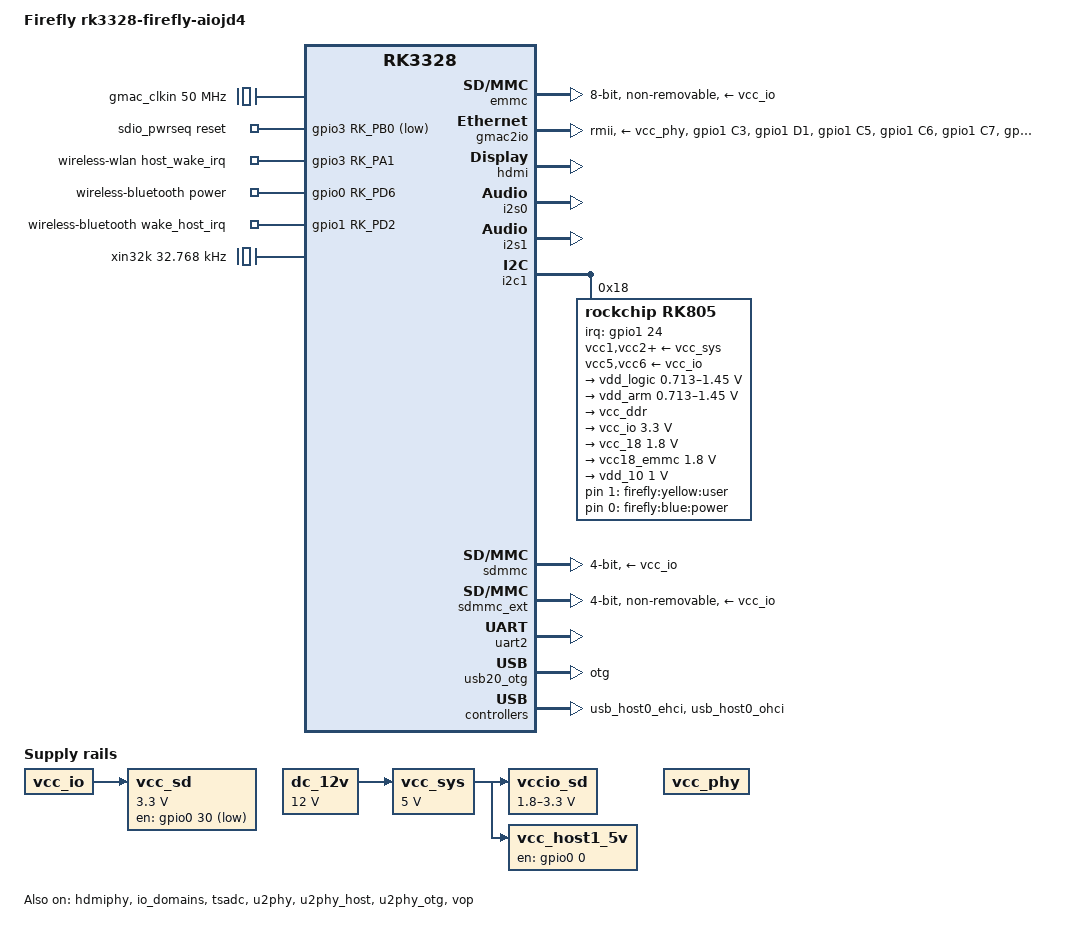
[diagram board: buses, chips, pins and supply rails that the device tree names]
// SPDX-License-Identifier: (GPL-2.0+ OR MIT)
// RK3328 AIO-JD4 (mb-jd4 backplane) — ported from BSP 4.4 to BSP 5.10
// Base: rk3328-roc-cc.dts (BSP 5.10)
// Custom: RMII ethernet, SDIO WiFi (rtl8723ds), BT, fiq-debugger, codec

/dts-v1/;
#include "rk3328.dtsi"

/ {
	model = "Firefly rk3328-firefly-aiojd4";
	compatible = "rockchip,rk3328-firefly-aiojd4", "rockchip,rk3328";

	chosen {
		stdout-path = "serial2:1500000n8";
		bootargs = "earlyprintk=uart8250-32bit,0xff130000 swiotlb=1 kpti=0 console=ttyS2,1500000n8 ro root=PARTLABEL=rootfs rootfstype=ext4 rootwait overlayroot=device:dev=PARTLABEL=userdata,fstype=ext4,mkfs=1 systemd.gpt_auto=0 cgroup_enable=memory swapaccount=1";
	};

	fiq-debugger {
		compatible = "rockchip,fiq-debugger";
		rockchip,serial-id = <2>;
		rockchip,signal-irq = <159>;
		rockchip,wake-irq = <0>;
		rockchip,irq-mode-enable = <0>;
		rockchip,baudrate = <1500000>;
		interrupts = <GIC_SPI 127 IRQ_TYPE_LEVEL_LOW>;
		status = "disabled";
	};

	gmac_clkin: external-gmac-clock {
		compatible = "fixed-clock";
		clock-frequency = <50000000>;
		clock-output-names = "gmac_clkin";
		#clock-cells = <0>;
	};

	sdio_pwrseq: sdio-pwrseq {
		compatible = "mmc-pwrseq-simple";
		pinctrl-names = "default";
		pinctrl-0 = <&wifi_enable_h>;
		reset-gpios = <&gpio3 RK_PB0 GPIO_ACTIVE_LOW>;
	};

	wireless-wlan {
		compatible = "wlan-platdata";
		rockchip,grf = <&grf>;
		clocks = <&rk805 1>;
		clock-names = "ext_clock";
		wifi_chip_type = "rtl8723ds";
		sdio_vref = <1800>;
		WIFI,host_wake_irq = <&gpio3 RK_PA1 GPIO_ACTIVE_HIGH>;
		status = "okay";
	};

	wireless-bluetooth {
		compatible = "bluetooth-platdata";
		clocks = <&cru SCLK_RTC32K>;
		clock-names = "ext_clock";
		BT,power_gpio = <&gpio0 RK_PD6 GPIO_ACTIVE_HIGH>;
		BT,wake_host_irq = <&gpio1 RK_PD2 GPIO_ACTIVE_HIGH>;
		status = "okay";
	};

	dc_12v: dc-12v {
		compatible = "regulator-fixed";
		regulator-name = "dc_12v";
		regulator-always-on;
		regulator-boot-on;
		regulator-min-microvolt = <12000000>;
		regulator-max-microvolt = <12000000>;
	};

	vcc_sd: sdmmc-regulator {
		compatible = "regulator-fixed";
		gpio = <&gpio0 30 GPIO_ACTIVE_LOW>;
		pinctrl-names = "default";
		pinctrl-0 = <&sdmmc0m1_pin>;
		regulator-boot-on;
		regulator-name = "vcc_sd";
		regulator-min-microvolt = <3300000>;
		regulator-max-microvolt = <3300000>;
		vin-supply = <&vcc_io>;
	};

	vccio_sd: sdmmcio-regulator {
		compatible = "regulator-gpio";
		gpios = <&gpio0 27 GPIO_ACTIVE_HIGH>;
		states = <1800000 0x1>,
			 <3300000 0x0>;
		pinctrl-names = "default";
		pinctrl-0 = <&sd_pwr_1800_sel>;
		regulator-name = "vccio_sd";
		regulator-type = "voltage";
		regulator-min-microvolt = <1800000>;
		regulator-max-microvolt = <3300000>;
		regulator-always-on;
		vin-supply = <&vcc_sys>;
	};

	vcc_host1_5v: vcc_otg_5v: vcc-host1-5v-regulator {
		compatible = "regulator-fixed";
		enable-active-high;
		gpio = <&gpio0 0 GPIO_ACTIVE_HIGH>;
		pinctrl-names = "default";
		pinctrl-0 = <&usb_host_drv>;
		regulator-name = "vcc_host1_5v";
		regulator-always-on;
		vin-supply = <&vcc_sys>;
	};

	vcc_sys: vcc-sys {
		compatible = "regulator-fixed";
		regulator-name = "vcc_sys";
		regulator-always-on;
		regulator-boot-on;
		regulator-min-microvolt = <5000000>;
		regulator-max-microvolt = <5000000>;
		vin-supply = <&dc_12v>;
	};

	vcc_phy: vcc-phy-regulator {
		compatible = "regulator-fixed";
		regulator-name = "vcc_phy";
		regulator-always-on;
		regulator-boot-on;
	};

	leds {
		compatible = "gpio-leds";

		power_led: led-0 {
			label = "firefly:yellow:user";
			linux,default-trigger = "ir-power-click";
			gpios = <&rk805 1 GPIO_ACTIVE_HIGH>;
			default-state = "on";
		};

		user_led: led-1 {
			label = "firefly:blue:power";
			linux,default-trigger = "ir-user-click";
			gpios = <&rk805 0 GPIO_ACTIVE_HIGH>;
			default-state = "on";
		};
	};

	sound {
		compatible = "simple-audio-card";
		simple-audio-card,format = "i2s";
		simple-audio-card,mclk-fs = <256>;
		simple-audio-card,name = "rockchip,rk3328";
		simple-audio-card,cpu {
			sound-dai = <&i2s1>;
		};
		simple-audio-card,codec {
			sound-dai = <&codec>;
		};
	};

	hdmi-sound {
		compatible = "simple-audio-card";
		simple-audio-card,format = "i2s";
		simple-audio-card,mclk-fs = <128>;
		simple-audio-card,name = "rockchip,hdmi";
		simple-audio-card,cpu {
			sound-dai = <&i2s0>;
		};
		simple-audio-card,codec {
			sound-dai = <&hdmi>;
		};
	};

	xin32k: xin32k {
		compatible = "fixed-clock";
		clock-frequency = <32768>;
		clock-output-names = "xin32k";
		#clock-cells = <0>;
	};
};

&cpu0 {
	cpu-supply = <&vdd_arm>;
};

&cpu1 {
	cpu-supply = <&vdd_arm>;
};

&cpu2 {
	cpu-supply = <&vdd_arm>;
};

&cpu3 {
	cpu-supply = <&vdd_arm>;
};

&emmc {
	bus-width = <8>;
	cap-mmc-highspeed;
	max-frequency = <150000000>;
	mmc-ddr-1_8v;
	mmc-hs200-1_8v;
	non-removable;
	pinctrl-names = "default";
	pinctrl-0 = <&emmc_clk &emmc_cmd &emmc_bus8>;
	vmmc-supply = <&vcc_io>;
	vqmmc-supply = <&vcc18_emmc>;
	status = "okay";
};

&gmac2io {
	phy-supply = <&vcc_phy>;
	phy-mode = "rmii";
	clock_in_out = "output";
	assigned-clocks = <&cru SCLK_MAC2IO_REFOUT>;
	assigned-clock-parents = <&gmac_clkin>;
	pinctrl-names = "default";
	pinctrl-0 = <&rmiim1_pins &gmac_reset>;
	snps,reset-gpio = <&gpio1 RK_PC2 GPIO_ACTIVE_LOW>;
	snps,reset-active-low;
	snps,force_thresh_dma_mode;
	snps,reset-delays-us = <0 10000 50000>;
	status = "okay";
};

&hdmi {
	#sound-dai-cells = <0>;
	ddc-i2c-scl-high-time-ns = <9625>;
	ddc-i2c-scl-low-time-ns = <10000>;
	status = "okay";
};

&hdmiphy {
	status = "okay";
};

&i2s0 {
	#sound-dai-cells = <0>;
	rockchip,bclk-fs = <128>;
	status = "okay";
};

&i2s1 {
	#sound-dai-cells = <0>;
	status = "okay";
};

&i2c1 {
	status = "okay";

	rk805: pmic@18 {
		compatible = "rockchip,rk805";
		reg = <0x18>;
		interrupt-parent = <&gpio1>;
		interrupts = <24 IRQ_TYPE_LEVEL_LOW>;
		#clock-cells = <1>;
		clock-output-names = "xin32k", "rk805-clkout2";
		gpio-controller;
		#gpio-cells = <2>;
		pinctrl-names = "default";
		pinctrl-0 = <&pmic_int_l>;
		rockchip,system-power-controller;
		wakeup-source;

		vcc1-supply = <&vcc_sys>;
		vcc2-supply = <&vcc_sys>;
		vcc3-supply = <&vcc_sys>;
		vcc4-supply = <&vcc_sys>;
		vcc5-supply = <&vcc_io>;
		vcc6-supply = <&vcc_io>;

		regulators {
			vdd_logic: DCDC_REG1 {
				regulator-name = "vdd_logic";
				regulator-min-microvolt = <712500>;
				regulator-max-microvolt = <1450000>;
				regulator-always-on;
				regulator-boot-on;
				regulator-state-mem {
					regulator-on-in-suspend;
					regulator-suspend-microvolt = <1000000>;
				};
			};

			vdd_arm: DCDC_REG2 {
				regulator-name = "vdd_arm";
				regulator-min-microvolt = <712500>;
				regulator-max-microvolt = <1450000>;
				regulator-always-on;
				regulator-boot-on;
				regulator-state-mem {
					regulator-on-in-suspend;
					regulator-suspend-microvolt = <950000>;
				};
			};

			vcc_ddr: DCDC_REG3 {
				regulator-name = "vcc_ddr";
				regulator-always-on;
				regulator-boot-on;
				regulator-state-mem {
					regulator-on-in-suspend;
				};
			};

			vcc_io: DCDC_REG4 {
				regulator-name = "vcc_io";
				regulator-min-microvolt = <3300000>;
				regulator-max-microvolt = <3300000>;
				regulator-always-on;
				regulator-boot-on;
				regulator-state-mem {
					regulator-on-in-suspend;
					regulator-suspend-microvolt = <3300000>;
				};
			};

			vcc_18: LDO_REG1 {
				regulator-name = "vcc_18";
				regulator-min-microvolt = <1800000>;
				regulator-max-microvolt = <1800000>;
				regulator-always-on;
				regulator-boot-on;
				regulator-state-mem {
					regulator-on-in-suspend;
					regulator-suspend-microvolt = <1800000>;
				};
			};

			vcc18_emmc: LDO_REG2 {
				regulator-name = "vcc18_emmc";
				regulator-min-microvolt = <1800000>;
				regulator-max-microvolt = <1800000>;
				regulator-always-on;
				regulator-boot-on;
				regulator-state-mem {
					regulator-on-in-suspend;
					regulator-suspend-microvolt = <1800000>;
				};
			};

			vdd_10: LDO_REG3 {
				regulator-name = "vdd_10";
				regulator-min-microvolt = <1000000>;
				regulator-max-microvolt = <1000000>;
				regulator-always-on;
				regulator-boot-on;
				regulator-state-mem {
					regulator-on-in-suspend;
					regulator-suspend-microvolt = <1000000>;
				};
			};
		};
	};
};

&io_domains {
	status = "okay";

	vccio1-supply = <&vcc_io>;
	vccio2-supply = <&vcc18_emmc>;
	vccio3-supply = <&vccio_sd>;
	vccio4-supply = <&vcc_18>;
	vccio5-supply = <&vcc_io>;
	vccio6-supply = <&vcc_io>;
	pmuio-supply = <&vcc_io>;
};

&pinctrl {
	pmic {
		pmic_int_l: pmic-int-l {
			rockchip,pins = <1 RK_PD0 RK_FUNC_GPIO &pcfg_pull_up>;
		};
	};

	usb {
		usb_host_drv: usb-host-drv {
			rockchip,pins = <0 0 RK_FUNC_GPIO &pcfg_pull_none>;
		};
	};

	sdio-pwrseq {
		wifi_enable_h: wifi-enable-h {
			rockchip,pins = <3 RK_PB0 RK_FUNC_GPIO &pcfg_pull_none>;
		};
	};

	gmac2phy {
		gmac_reset: gmac-reset {
			rockchip,pins = <1 18 RK_FUNC_GPIO &pcfg_pull_none>;
		};
	};

	gmac-1 {
		rmiim1_pins: rmiim1-pins {
			rockchip,pins =
				/* mac_mdio */
				<1 RK_PC3 2 &pcfg_pull_none_2ma>,
				/* mac_txen */
				<1 RK_PD1 2 &pcfg_pull_none_12ma>,
				/* mac_clk */
				<1 RK_PC5 2 &pcfg_pull_none_2ma>,
				/* mac_rxdv */
				<1 RK_PC6 2 &pcfg_pull_none_2ma>,
				/* mac_mdc */
				<1 RK_PC7 2 &pcfg_pull_none_2ma>,
				/* mac_rxd1 */
				<1 RK_PB2 2 &pcfg_pull_none_2ma>,
				/* mac_rxd0 */
				<1 RK_PB3 2 &pcfg_pull_none_2ma>,
				/* mac_txd1 */
				<1 RK_PB0 2 &pcfg_pull_none_12ma>,
				/* mac_txd0 */
				<1 RK_PB1 2 &pcfg_pull_none_12ma>;
		};
	};

	vccio-sd {
		sd_pwr_1800_sel: sd-pwr-1800-sel {
			rockchip,pins = <0 RK_PD3 RK_FUNC_GPIO &pcfg_pull_none>;
		};
	};
};

&sdmmc {
	bus-width = <4>;
	cap-mmc-highspeed;
	cap-sd-highspeed;
	disable-wp;
	max-frequency = <150000000>;
	pinctrl-names = "default";
	pinctrl-0 = <&sdmmc0_clk &sdmmc0_cmd &sdmmc0_dectn &sdmmc0_bus4>;
	sd-uhs-sdr12;
	sd-uhs-sdr25;
	sd-uhs-sdr50;
	sd-uhs-sdr104;
	vmmc-supply = <&vcc_io>;
	vqmmc-supply = <&vccio_sd>;
	status = "okay";
};

&sdmmc_ext {
	bus-width = <4>;
	cap-sdio-irq;
	disable-wp;
	keep-power-in-suspend;
	max-frequency = <500000000>;
	mmc-pwrseq = <&sdio_pwrseq>;
	num-slots = <1>;
	non-removable;
	pinctrl-names = "default";
	pinctrl-0 = <&sdmmc0ext_clk &sdmmc0ext_cmd &sdmmc0ext_bus4>;
	supports-sdio;
	status = "okay";
	vmmc-supply = <&vcc_io>;
};

&tsadc {
	status = "okay";
};

&uart2 {
	dma-names = "tx", "rx";
	status = "okay";
};

&uart1 {
	status = "disabled";
};

&u2phy {
	status = "okay";
};

&u2phy_host {
	phy-supply = <&vcc_host1_5v>;
	status = "okay";
};

&u2phy_otg {
	status = "okay";
};

&usb20_otg {
	dr_mode = "otg";
	status = "okay";
};

&usb_host0_ehci {
	status = "okay";
};

&usb_host0_ohci {
	status = "okay";
};

&vop {
	status = "okay";
};

&vop_mmu {
	status = "okay";
};
